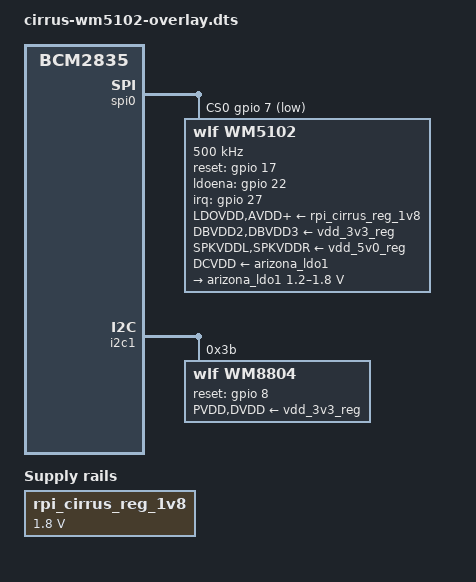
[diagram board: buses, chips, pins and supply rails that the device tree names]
// Definitions for the Cirrus Logic Audio Card
/dts-v1/;
/plugin/;
#include <dt-bindings/pinctrl/bcm2835.h>
#include <dt-bindings/gpio/gpio.h>
#include <dt-bindings/mfd/arizona.h>

/ {
	compatible = "brcm,bcm2835";

	fragment@0 {
		target = <&i2s_clk_consumer>;
		__overlay__ {
			status = "okay";
		};
	};

	fragment@1 {
		target = <&gpio>;
		__overlay__ {
			wlf_5102_pins: wlf_5102_pins {
				brcm,pins = <17 22 27>;
				brcm,function = <
					BCM2835_FSEL_GPIO_OUT
					BCM2835_FSEL_GPIO_OUT
					BCM2835_FSEL_GPIO_IN
				>;
			};
			wlf_8804_pins: wlf_8804_pins {
				brcm,pins = <8>;
				brcm,function = <BCM2835_FSEL_GPIO_OUT>;
			};
		};
	};

	fragment@2 {
		target = <&spi0_cs_pins>;
		__overlay__ {
			brcm,pins = <7>;
			brcm,function = <BCM2835_FSEL_GPIO_OUT>;
		};
	};


	fragment@3 {
		target-path = "/";
		__overlay__ {
			rpi_cirrus_reg_1v8: rpi_cirrus_reg_1v8 {
				compatible = "regulator-fixed";
				regulator-name = "RPi-Cirrus 1v8";
				regulator-min-microvolt = <1800000>;
				regulator-max-microvolt = <1800000>;
				regulator-always-on;
			};
		};
	};

	fragment@4 {
		target = <&spidev0>;
		__overlay__ {
			status = "disabled";
		};
	};

	fragment@5 {
		target = <&spidev1>;
		__overlay__ {
			status = "disabled";
		};
	};

	fragment@6 {
		target = <&spi0>;
		__overlay__ {
			#address-cells = <1>;
			#size-cells = <0>;
			status = "okay";
			cs-gpios = <&gpio 7 GPIO_ACTIVE_LOW>;

			wm5102@0{
				compatible = "wlf,wm5102";
				reg = <0>;

				pinctrl-names = "default";
				pinctrl-0 = <&wlf_5102_pins>;

				spi-max-frequency = <500000>;

				interrupt-parent = <&gpio>;
				interrupts = <27 8>;
				interrupt-controller;
				#interrupt-cells = <2>;

				gpio-controller;
				#gpio-cells = <2>;

				LDOVDD-supply = <&rpi_cirrus_reg_1v8>;
				AVDD-supply = <&rpi_cirrus_reg_1v8>;
				DBVDD1-supply = <&rpi_cirrus_reg_1v8>;
				DBVDD2-supply = <&vdd_3v3_reg>;
				DBVDD3-supply = <&vdd_3v3_reg>;
				CPVDD-supply = <&rpi_cirrus_reg_1v8>;
				SPKVDDL-supply = <&vdd_5v0_reg>;
				SPKVDDR-supply = <&vdd_5v0_reg>;
				DCVDD-supply = <&arizona_ldo1>;

				reset-gpios = <&gpio 17 GPIO_ACTIVE_HIGH>;
				wlf,ldoena = <&gpio 22 GPIO_ACTIVE_HIGH>;
				wlf,gpio-defaults = <
					ARIZONA_GP_DEFAULT
					ARIZONA_GP_DEFAULT
					ARIZONA_GP_DEFAULT
					ARIZONA_GP_DEFAULT
					ARIZONA_GP_DEFAULT
				>;
				wlf,micd-configs = <0 1 0>;
				wlf,dmic-ref = <
					ARIZONA_DMIC_MICVDD
					ARIZONA_DMIC_MICBIAS2
					ARIZONA_DMIC_MICVDD
					ARIZONA_DMIC_MICVDD
				>;
				wlf,inmode = <
					ARIZONA_INMODE_DIFF
					ARIZONA_INMODE_DMIC
					ARIZONA_INMODE_SE
					ARIZONA_INMODE_DIFF
				>;
				status = "okay";

				arizona_ldo1: ldo1 {
					regulator-name = "LDO1";
					// default constraints as in
					// arizona-ldo1.c
					regulator-min-microvolt = <1200000>;
					regulator-max-microvolt = <1800000>;
				};
			};
		};
	};

	fragment@7 {
		target = <&i2c1>;
		__overlay__ {
			status = "okay";
			#address-cells = <1>;
			#size-cells = <0>;

			wm8804@3b {
				compatible = "wlf,wm8804";
				reg = <0x3b>;
				status = "okay";

				pinctrl-names = "default";
				pinctrl-0 = <&wlf_8804_pins>;

				PVDD-supply = <&vdd_3v3_reg>;
				DVDD-supply = <&vdd_3v3_reg>;
				wlf,reset-gpio = <&gpio 8 GPIO_ACTIVE_HIGH>;
			};
		};
	};

	fragment@8 {
		target = <&sound>;
		__overlay__ {
			compatible = "wlf,rpi-cirrus";
			i2s-controller = <&i2s_clk_consumer>;
			status = "okay";
		};
	};
};
